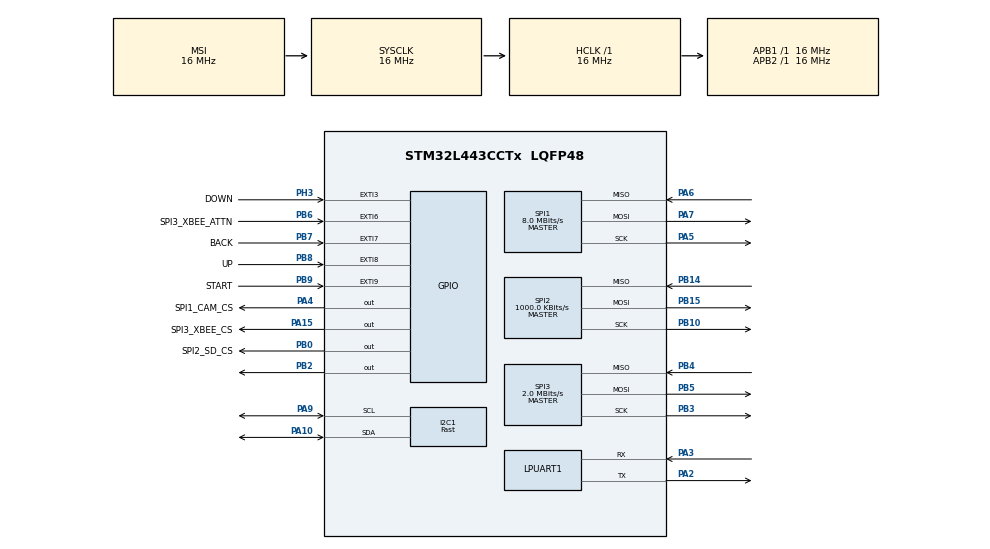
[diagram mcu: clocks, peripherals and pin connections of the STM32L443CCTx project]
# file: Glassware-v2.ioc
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FATFS._CODE_PAGE=437
FATFS._FS_EXFAT=0
FATFS._MAX_SS=4096
FATFS._USE_LFN=1
I2C1.I2C_Speed_Mode=I2C_Fast
I2C1.NoStretchMode=I2C_NOSTRETCH_DISABLE
I2C1.Timing=0x0010061A
Mcu.Family=STM32L4
Mcu.Name=STM32L443CCTx
Mcu.Package=LQFP48
NVIC.EXTI3_IRQn=true\:0\:0\:false\:false\:true\:true\:true\:true
NVIC.EXTI9_5_IRQn=true\:0\:0\:false\:false\:true\:true\:true\:true
NVIC.PriorityGroup=NVIC_PRIORITYGROUP_4
PA10.GPIO_Pu=GPIO_PULLUP
PA10.Mode=I2C
PA10.Signal=I2C1_SDA
PA13\ (JTMS-SWDIO).Mode=Serial_Wire
PA13\ (JTMS-SWDIO).Signal=SYS_JTMS-SWDIO
PA14\ (JTCK-SWCLK).Mode=Serial_Wire
PA14\ (JTCK-SWCLK).Signal=SYS_JTCK-SWCLK
PA15\ (JTDI).GPIO_Label=SPI3_XBEE_CS
PA15\ (JTDI).PinState=GPIO_PIN_SET
PA15\ (JTDI).Signal=GPIO_Output
PA2.Mode=Asynchronous
PA2.Signal=LPUART1_TX
PA3.Mode=Asynchronous
PA3.Signal=LPUART1_RX
PA4.GPIO_Label=SPI1_CAM_CS
PA4.PinState=GPIO_PIN_SET
PA4.Signal=GPIO_Output
PA5.GPIO_PuPd=GPIO_NOPULL
PA5.Mode=Full_Duplex_Master
PA5.Signal=SPI1_SCK
PA6.Mode=Full_Duplex_Master
PA6.Signal=SPI1_MISO
PA7.Mode=Full_Duplex_Master
PA7.Signal=SPI1_MOSI
PA9.GPIO_Pu=GPIO_PULLUP
PA9.Mode=I2C
PA9.Signal=I2C1_SCL
PB0.GPIO_Label=SPI2_SD_CS
PB0.GPIO_PuPd=GPIO_PULLUP
PB0.PinState=GPIO_PIN_SET
PB0.Signal=GPIO_Output
PB10.GPIO_PuPd=GPIO_PULLUP
PB10.Mode=Full_Duplex_Master
PB10.Signal=SPI2_SCK
PB14.GPIO_PuPd=GPIO_PULLUP
PB14.Mode=Full_Duplex_Master
PB14.Signal=SPI2_MISO
PB15.GPIO_PuPd=GPIO_PULLUP
PB15.Mode=Full_Duplex_Master
PB15.Signal=SPI2_MOSI
PB2.Signal=GPIO_Output
PB3\ (JTDO-TRACESWO).Mode=Full_Duplex_Master
PB3\ (JTDO-TRACESWO).Signal=SPI3_SCK
PB4\ (NJTRST).Mode=Full_Duplex_Master
PB4\ (NJTRST).Signal=SPI3_MISO
PB5.Mode=Full_Duplex_Master
PB5.Signal=SPI3_MOSI
PB6.GPIO_Label=SPI3_XBEE_ATTN
PB6.GPIO_ModeDefaultEXTI=GPIO_MODE_IT_FALLING
PB6.Signal=GPXTI6
PB7.GPIO_Label=BACK
PB7.GPIO_ModeDefaultEXTI=GPIO_MODE_IT_FALLING
PB7.Signal=GPXTI7
PB8.GPIO_Label=UP
PB8.GPIO_ModeDefaultEXTI=GPIO_MODE_IT_FALLING
PB8.Signal=GPXTI8
PB9.GPIO_Label=START
PB9.GPIO_ModeDefaultEXTI=GPIO_MODE_IT_FALLING
PB9.Signal=GPXTI9
PH0-OSC_IN\ (PH0).Mode=HSE-External-Oscillator
PH0-OSC_IN\ (PH0).Signal=RCC_OSC_IN
PH1-OSC_OUT\ (PH1).Mode=HSE-External-Oscillator
PH1-OSC_OUT\ (PH1).Signal=RCC_OSC_OUT
PH3-BOOT0.GPIO_Label=DOWN
PH3-BOOT0.GPIO_ModeDefaultEXTI=GPIO_MODE_IT_FALLING
PH3-BOOT0.Signal=GPXTI3
ProjectManager.HeapSize=0x200
ProjectManager.StackSize=0x400
ProjectManager.TargetToolchain=STM32CubeIDE
RCC.ADCFreq_Value=64000000
RCC.AHBFreq_Value=16000000
RCC.APB1Freq_Value=16000000
RCC.APB1TimFreq_Value=16000000
RCC.APB2Freq_Value=16000000
RCC.APB2TimFreq_Value=16000000
RCC.CortexFreq_Value=16000000
RCC.HCLKFreq_Value=16000000
RCC.HSE_VALUE=8000000
RCC.HSI48_VALUE=48000000
RCC.HSI_VALUE=16000000
RCC.LSE_VALUE=32768
RCC.MSIClockRange=RCC_MSIRANGE_8
RCC.MSI_VALUE=16000000
RCC.SYSCLKFreq_VALUE=16000000
RCC.USBFreq_Value=64000000
RCC.VCOOutputFreq_Value=128000000
SPI1.CalculateBaudRate=8.0 MBits/s
SPI1.Direction=SPI_DIRECTION_2LINES
SPI1.Mode=SPI_MODE_MASTER
SPI1.VirtualType=VM_MASTER
SPI2.BaudRatePrescaler=SPI_BAUDRATEPRESCALER_16
SPI2.CalculateBaudRate=1000.0 KBits/s
SPI2.DataSize=SPI_DATASIZE_8BIT
SPI2.Direction=SPI_DIRECTION_2LINES
SPI2.Mode=SPI_MODE_MASTER
SPI2.NSSPMode=SPI_NSS_PULSE_DISABLE
SPI2.VirtualType=VM_MASTER
SPI3.BaudRatePrescaler=SPI_BAUDRATEPRESCALER_8
SPI3.CalculateBaudRate=2.0 MBits/s
SPI3.DataSize=SPI_DATASIZE_8BIT
SPI3.Direction=SPI_DIRECTION_2LINES
SPI3.Mode=SPI_MODE_MASTER
SPI3.VirtualType=VM_MASTER
VP_FATFS_VS_Generic.Mode=User_defined
board=custom

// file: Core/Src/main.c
/* USER CODE BEGIN Header */
/**
 ******************************************************************************
 * @file           : main.c
 * @brief          : Main program body
 ******************************************************************************
 * @attention
 *
 * Copyright (c) 2023 STMicroelectronics.
 * All rights reserved.
 *
 * This software is licensed under terms that can be found in the LICENSE file
 * in the root directory of this software component.
 * If no LICENSE file comes with this software, it is provided AS-IS.
 *
 ******************************************************************************
 */
/* USER CODE END Header */
#include "main.h"
#include "fatfs.h"

/* USER CODE BEGIN Includes */
#include "path.h"
#include "fatfs_sd.h"
#include "fonts.h"
#include "ssd1306.h"
#include "stdbool.h"
#include "stdio.h"
#include "string.h"
#include "xbee.h"

/* USER CODE END Includes */

/* USER CODE BEGIN PD */
#define HSPI_SDCARD &hspi2
#define SD_CS_PORT GPIOB
#define SD_CS_PIN GPIO_PIN_0

/* USER CODE END PD */

I2C_HandleTypeDef hi2c1;

UART_HandleTypeDef hlpuart1;

SPI_HandleTypeDef hspi1;
SPI_HandleTypeDef hspi2;
SPI_HandleTypeDef hspi3;

extern int num_allocated;
extern int num_freed;

/* USER CODE BEGIN PV */
enum menuState {dir = 0, sel_dest = 1, running = 2};
enum selectedLocation {none = 0, eecs1311, wbathroom, mbathroom, vending, stairs};
enum menuState menu;
enum selectedLocation location = none;
double ** map;     // map storage
double ** destMap; // map storage
const int pressed = 0;
// display settings
char * curDisp;
char * nextDisp;
int curDir;
int nextDir;
int lastDisp = 0;
const char * START = "Press Start";
const char * ARRIVED = "Hit Mark!";
const char * CHOOSE = "Set Course";
const char * EECS1311 = "EECS 1311";
const char * WBATH = "Women's WC";
const char * MBATH = "Men's WC";
const char * VENDING = "Snack Mach";
const char * STAIRS = "Stairs";

// xbee vars
uint8_t xbee_rx_buf[64];
uint16_t rx_size = 0;

Graph * graph; // storage for shortest path algorithm
double curPosX;
double curPosY;
int status;
/* USER CODE END PV */

void SystemClock_Config(void);
static void MX_GPIO_Init(void);
static void MX_I2C1_Init(void);
static void MX_SPI1_Init(void);
static void MX_LPUART1_UART_Init(void);
static void MX_SPI3_Init(void);
static void MX_SPI2_Init(void);

/* USER CODE BEGIN 0 */
void sendResetTX()
{
	uint8_t buf[3] = { 'R', 'S', 'T' };
	XBeeTX(buf, 3, xbee_rx_buf, 0);
}

void sendResetDestTX(uint8_t dest)
{
	uint8_t buf[4] = { 'R', 'S', 'T', dest };
	XBeeTX(buf, 4, xbee_rx_buf, 1);
}

bool hasArrived()
{
	// check if current position is within 3 meters of the destination
	double dist = sqrt(pow(curPosX - destMap[0][0],  2) + pow(curPosY - destMap[0][1], 2));
	if (dist > -1.5 && dist < 1.5) return true;
	return false;
}

void initMenu()
{
	SSD1306_Clear();
	SSD1306_GotoXY(0,0);
	SSD1306_Puts ("Press Start", &Font_11x18, 1);
	SSD1306_UpdateScreen(); //display
}

void parseXbeeData(){

	int i = 0;
	while (xbee_rx_buf[i] != 0x7e) {
		i++;
	}

	int frame = xbee_rx_buf[i + 3];

	if (frame != 0x90){
		return;
	}

	int xInit = i + 15, yInit = i + 19, sInit = i + 23;
	//int xEnd = 3, yEnd = 7, sEnd = 11;
	int packetSize = 4;

	int x = 0;
	int y = 0;
	status = 0;

	for (int j = 0; j < packetSize; j++){
		x |= xbee_rx_buf[xInit + j] << ((3-j)*8);
		y |= xbee_rx_buf[yInit + j] << ((3-j)*8);
		status |= xbee_rx_buf[sInit + j] << ((3-j)*8);

	}

	curPosX = *((float*) &x);
	curPosY = *((float*) &y);

}

GPIO_PinState readButton(int idx)
{
	if (idx == 0){
		return HAL_GPIO_ReadPin(GPIOB, GPIO_PIN_9);
	} else if (idx == 1) {
		return HAL_GPIO_ReadPin(GPIOB, GPIO_PIN_8);
	} else if (idx == 2) {
		return HAL_GPIO_ReadPin(GPIOH, GPIO_PIN_3);
	} else if (idx == 3) {
		return HAL_GPIO_ReadPin(GPIOB, GPIO_PIN_7);
	}
}

void readButtons(int start, int up, int down, int back)
{
	if (menu == dir) {
		if ( (start == pressed) || (up == pressed) || (down == pressed) || (back = pressed)){
			menu = sel_dest;
			return;
		}
	} else if (menu == sel_dest) {
		if (back == pressed) {
			menu = dir;
			return;
		} else if (up == pressed && down == pressed) {
			return;
		} else if (up == pressed) {
			if (location != none) {
				location--;
				return;
			}
		} else if (down == pressed) {
			if (location != stairs ) {
				location++;
				return;
			}
		} else if (start == pressed) {
			if (location != none) {
				menu = running;
				sendResetTX();
				sendResetDestTX(location);
				return;
			}
		}
	} else if (menu == running) {
		if (back == pressed) {
			menu = dir;
			location = none;
			return;
		}
	}
}

void displayLocation()
{
	if (location == none){
		nextDisp = CHOOSE;
	} else if (location == eecs1311 ) {
		nextDisp = EECS1311;
	} else if (location == wbathroom ) {
		nextDisp = WBATH;
	} else if (location == mbathroom ) {
		nextDisp = MBATH;
	} else if (location == vending ) {
		nextDisp = VENDING;
	} else if (location == stairs ) {
		nextDisp = STAIRS;
	}
}

void WriteToDisplay(char * str)
{
	SSD1306_Clear();
	SSD1306_GotoXY(0,0);
	SSD1306_Puts (str, &Font_11x18, 1);
	SSD1306_UpdateScreen(); //display
}

void displayMenu()
{
	if (menu == dir) {
		//		SSD1306_Puts ("Press Start", &Font_11x18, 1);
		nextDisp = START;
	} else if (menu == sel_dest) {
		displayLocation();
	} else if (menu == running) {
		// getCurrentPosition();

		if (hasArrived()){
			location = none;
			menu = dir;
			// display congrats message
			WriteToDisplay(ARRIVED);
			nextDisp = ARRIVED;
			HAL_Delay(2000);
		} else {
			// compute based on algorithm
			displayNextStep();
			HAL_Delay(300);
		}
	}

	if (strcmp(curDisp, nextDisp) != 0) {
		lastDisp = 0;
		SSD1306_Clear();
		SSD1306_GotoXY(0,0);
		curDisp = nextDisp;
		SSD1306_Puts (curDisp, &Font_11x18, 1);
		SSD1306_UpdateScreen(); //display
	}
}

void displayNextStep()
{
	// convert from current position to closest node
	int startIdx = findClosestNode(graph, curPosX, curPosY);
	int destinationIdx = findNode(graph, destMap[location][0], destMap[location][1]);

	// find shortest path from current position to destination
	int * path = findShortestPath(graph, startIdx, destinationIdx);

	// find immediate route for user
	// compute arrow heading (based on user orientation)
	double theta = heading(graph, path);
	free(path);

	// TODO: convert from position to orientation
	// TODO: figure out if needed to turn back
	// then convert from theta to arrow direction

	if (0 <= theta && theta < M_PI / 2) nextDir = 0;
	else if (M_PI / 2 <= theta && theta < M_PI) nextDir = 1;
	else if (M_PI <= theta && theta < 3 * M_PI / 2) nextDir = 2;
	else if (3 * M_PI / 2 <= theta && theta <= 2 * M_PI) nextDir = 3;
	else nextDir = -1;

	if (nextDir != curDir || lastDisp == 0){
		displayArrow(nextDir);
		curDir = nextDir;
		lastDisp = 1;
	}
//	char* temp[80];
//	SSD1306_Clear();
//	SSD1306_GotoXY(0, 0);
//	sprintf(temp, "Allc: %i", num_allocated);
//	SSD1306_Puts(temp, &Font_7x10, 1);
//	SSD1306_GotoXY(0, 12);
//	sprintf(temp, "Free: %i", num_freed);
//	SSD1306_Puts(temp, &Font_7x10, 1);
//	SSD1306_UpdateScreen();
	return;
}

void displayArrowRight()
{
	// Turn Right
	SSD1306_Puts ("Right", &Font_11x18, 1);
	SSD1306_DrawFilledTriangle(120, 15, 100, 30, 100, 0, SSD1306_COLOR_WHITE);
	SSD1306_DrawFilledRectangle(80, 10, 20, 10, SSD1306_COLOR_WHITE);
}

void displayArrowLeft()
{
	// Turn Left
	SSD1306_Puts ("Left", &Font_11x18, 1);
	SSD1306_DrawFilledTriangle(80, 15, 100, 30, 100, 0, SSD1306_COLOR_WHITE);
	SSD1306_DrawFilledRectangle(100, 10, 20, 10, SSD1306_COLOR_WHITE);
}

void displayArrowUp()
{
	// Move forward
	SSD1306_Puts ("Move", &Font_11x18, 1);
	SSD1306_DrawFilledTriangle(80, 0, 100, 30, 60, 30, SSD1306_COLOR_WHITE);
}

void displayArrowDown()
{
	// Turn back
	SSD1306_Puts ("Back", &Font_11x18, 1);
	SSD1306_DrawFilledTriangle(80, 30, 100, 0, 60, 0, SSD1306_COLOR_WHITE);
}

void displayArrowError()
{
	// Turn back
	SSD1306_Puts ("Error with arrow heading!", &Font_11x18, 1);
}

void displayArrow(int direction)
{
	SSD1306_Clear();
	SSD1306_GotoXY (0,0);

	if (direction == 0) {
		displayArrowRight();
	} else if (direction == 1) {
		displayArrowLeft();
	} else if (direction == 2) {
		displayArrowUp();
	} else if (direction == 3) {
		displayArrowDown();
	} else {
		// error
		displayArrowError();
	}

	SSD1306_UpdateScreen(); //display
}
void Start_position(){
	curPosX = destMap[2][0];
	curPosY = destMap[2][1];
}

void Destination_init()
{
	int locNum = 5;
	destMap = malloc(locNum * sizeof(double *));
	for (int i = 0; i < locNum; i++){
		// allocate x/y coordinates
		destMap[i] = malloc( 2 * sizeof(double));
	}

	// none (test)
	destMap[0][0] = 16.96;
	destMap[0][1] = 78.64;

	// eecs 1311
	destMap[1][0] = 16.96;
	destMap[1][1] = 78.64;

	// womem's bathroom
	destMap[2][0] = 41.12;
	destMap[2][1] = 82.48;

	// men's bathroom
	destMap[3][0] = 48.48;
	destMap[3][1] = 82.80;

	// vending machine
	destMap[4][0] = 39.36;
	destMap[4][1] = 62.48;

	// stairs
	destMap[4][0] = 48.32;
	destMap[4][1] = 78.48;
}

int Map_init_SD(){
	// open map file from sd card

	// Initialize SD card
	// some variables for FatFs
	FATFS FatFs; 	//Fatfs handle
	FIL fil; 		//File handle
	char line[100]; // Line buffer
	FRESULT fres;   //Result after operations
	char* filename = "refineMap.txt";

	fres = f_mount(&FatFs, "0:", 1); // 1 = mount now

	fres = f_open(&fil, filename, FA_READ);
	if (fres) return (int)fres;

	int count = 0;
	while (f_gets(line, sizeof line, &fil)) {
		count++;
	}

	/* Close the file */
	f_close(&fil);

	map = malloc(count * sizeof(double *));
	for (int i = 0; i < count; i++){
		// allocate x/y coordinates
		map[i] = malloc( 4 * sizeof(double));
	}

	// Reopen file and read content
	fres = f_open(&fil, filename, FA_READ);
	if (fres) return (int)fres;

	/* Read every line and display it */
	char * token;
	const char* del = " ";

	int i = 0;
	while (f_gets(line, sizeof(line), &fil)) {
		int j = 0;
		// printf(line);
		token = strtok(line, del);
		double num = atof(token);
		map[i][j] = num;

		while(token != NULL){
			if (j >= 3){ // file is badly formatted
				break;
			}
			j++;
			token = strtok(NULL, del);
			num = atof(token);
			map[i][j] = num;
		}
		i++;
	}

	/* Close the file */
	f_close(&fil);

	buildGraphFromMap(graph, map, count);

	return 0;

}
/* USER CODE END 0 */

int main(void)
{

	/* MCU Configuration--------------------------------------------------------*/

	/* Reset of all peripherals, Initializes the Flash interface and the Systick. */
	HAL_Init();

	/* Configure the system clock */
	SystemClock_Config();

	/* Initialize all configured peripherals */
	MX_GPIO_Init();
	MX_I2C1_Init();
	MX_FATFS_Init();
	MX_SPI1_Init();
	MX_LPUART1_UART_Init();
	MX_SPI3_Init();
	MX_SPI2_Init();
	/* USER CODE BEGIN 2 */

	graph = createGraph();
	Map_init_SD();
	Destination_init();
	Start_position();

	// Initialize screen
	menu = dir;
	SSD1306_Init();
	curDisp = START;
	curDir = -1;

	initMenu();
	/* USER CODE END 2 */

	/* Infinite loop */
	while (1)
	{

		/* USER CODE BEGIN 3 */

		displayMenu();

	}
	/* USER CODE END 3 */
}

void SystemClock_Config(void)
{
	RCC_OscInitTypeDef RCC_OscInitStruct = {0};
	RCC_ClkInitTypeDef RCC_ClkInitStruct = {0};

	/** Configure the main internal regulator output voltage
	 */
	if (HAL_PWREx_ControlVoltageScaling(PWR_REGULATOR_VOLTAGE_SCALE1) != HAL_OK)
	{
		Error_Handler();
	}

	/** Initializes the RCC Oscillators according to the specified parameters
	 * in the RCC_OscInitTypeDef structure.
	 */
	RCC_OscInitStruct.OscillatorType = RCC_OSCILLATORTYPE_MSI;
	RCC_OscInitStruct.MSIState = RCC_MSI_ON;
	RCC_OscInitStruct.MSICalibrationValue = 0;
	RCC_OscInitStruct.MSIClockRange = RCC_MSIRANGE_8;
	RCC_OscInitStruct.PLL.PLLState = RCC_PLL_NONE;
	if (HAL_RCC_OscConfig(&RCC_OscInitStruct) != HAL_OK)
	{
		Error_Handler();
	}

	/** Initializes the CPU, AHB and APB buses clocks
	 */
	RCC_ClkInitStruct.ClockType = RCC_CLOCKTYPE_HCLK|RCC_CLOCKTYPE_SYSCLK
			|RCC_CLOCKTYPE_PCLK1|RCC_CLOCKTYPE_PCLK2;
	RCC_ClkInitStruct.SYSCLKSource = RCC_SYSCLKSOURCE_MSI;
	RCC_ClkInitStruct.AHBCLKDivider = RCC_SYSCLK_DIV1;
	RCC_ClkInitStruct.APB1CLKDivider = RCC_HCLK_DIV1;
	RCC_ClkInitStruct.APB2CLKDivider = RCC_HCLK_DIV1;

	if (HAL_RCC_ClockConfig(&RCC_ClkInitStruct, FLASH_LATENCY_0) != HAL_OK)
	{
		Error_Handler();
	}
}

static void MX_I2C1_Init(void)
{

	hi2c1.Instance = I2C1;
	hi2c1.Init.Timing = 0x0010061A;
	hi2c1.Init.OwnAddress1 = 0;
	hi2c1.Init.AddressingMode = I2C_ADDRESSINGMODE_7BIT;
	hi2c1.Init.DualAddressMode = I2C_DUALADDRESS_DISABLE;
	hi2c1.Init.OwnAddress2 = 0;
	hi2c1.Init.OwnAddress2Masks = I2C_OA2_NOMASK;
	hi2c1.Init.GeneralCallMode = I2C_GENERALCALL_DISABLE;
	hi2c1.Init.NoStretchMode = I2C_NOSTRETCH_DISABLE;
	if (HAL_I2C_Init(&hi2c1) != HAL_OK)
	{
		Error_Handler();
	}

	/** Configure Analogue filter
	 */
	if (HAL_I2CEx_ConfigAnalogFilter(&hi2c1, I2C_ANALOGFILTER_ENABLE) != HAL_OK)
	{
		Error_Handler();
	}

	/** Configure Digital filter
	 */
	if (HAL_I2CEx_ConfigDigitalFilter(&hi2c1, 0) != HAL_OK)
	{
		Error_Handler();
	}

}

static void MX_LPUART1_UART_Init(void)
{

	hlpuart1.Instance = LPUART1;
	hlpuart1.Init.BaudRate = 209700;
	hlpuart1.Init.WordLength = UART_WORDLENGTH_7B;
	hlpuart1.Init.StopBits = UART_STOPBITS_1;
	hlpuart1.Init.Parity = UART_PARITY_NONE;
	hlpuart1.Init.Mode = UART_MODE_TX_RX;
	hlpuart1.Init.HwFlowCtl = UART_HWCONTROL_NONE;
	hlpuart1.Init.OneBitSampling = UART_ONE_BIT_SAMPLE_DISABLE;
	hlpuart1.AdvancedInit.AdvFeatureInit = UART_ADVFEATURE_NO_INIT;
	if (HAL_UART_Init(&hlpuart1) != HAL_OK)
	{
		Error_Handler();
	}

}

static void MX_SPI1_Init(void)
{

	/* SPI1 parameter configuration*/
	hspi1.Instance = SPI1;
	hspi1.Init.Mode = SPI_MODE_MASTER;
	hspi1.Init.Direction = SPI_DIRECTION_2LINES;
	hspi1.Init.DataSize = SPI_DATASIZE_4BIT;
	hspi1.Init.CLKPolarity = SPI_POLARITY_LOW;
	hspi1.Init.CLKPhase = SPI_PHASE_1EDGE;
	hspi1.Init.NSS = SPI_NSS_SOFT;
	hspi1.Init.BaudRatePrescaler = SPI_BAUDRATEPRESCALER_2;
	hspi1.Init.FirstBit = SPI_FIRSTBIT_MSB;
	hspi1.Init.TIMode = SPI_TIMODE_DISABLE;
	hspi1.Init.CRCCalculation = SPI_CRCCALCULATION_DISABLE;
	hspi1.Init.CRCPolynomial = 7;
	hspi1.Init.CRCLength = SPI_CRC_LENGTH_DATASIZE;
	hspi1.Init.NSSPMode = SPI_NSS_PULSE_ENABLE;
	if (HAL_SPI_Init(&hspi1) != HAL_OK)
	{
		Error_Handler();
	}

}

static void MX_SPI2_Init(void)
{

	/* SPI2 parameter configuration*/
	hspi2.Instance = SPI2;
	hspi2.Init.Mode = SPI_MODE_MASTER;
	hspi2.Init.Direction = SPI_DIRECTION_2LINES;
	hspi2.Init.DataSize = SPI_DATASIZE_8BIT;
	hspi2.Init.CLKPolarity = SPI_POLARITY_LOW;
	hspi2.Init.CLKPhase = SPI_PHASE_1EDGE;
	hspi2.Init.NSS = SPI_NSS_SOFT;
	hspi2.Init.BaudRatePrescaler = SPI_BAUDRATEPRESCALER_16;
	hspi2.Init.FirstBit = SPI_FIRSTBIT_MSB;
	hspi2.Init.TIMode = SPI_TIMODE_DISABLE;
	hspi2.Init.CRCCalculation = SPI_CRCCALCULATION_DISABLE;
	hspi2.Init.CRCPolynomial = 7;
	hspi2.Init.CRCLength = SPI_CRC_LENGTH_DATASIZE;
	hspi2.Init.NSSPMode = SPI_NSS_PULSE_DISABLE;
	if (HAL_SPI_Init(&hspi2) != HAL_OK)
	{
		Error_Handler();
	}

}

static void MX_SPI3_Init(void)
{

	/* SPI3 parameter configuration*/
	hspi3.Instance = SPI3;
	hspi3.Init.Mode = SPI_MODE_MASTER;
	hspi3.Init.Direction = SPI_DIRECTION_2LINES;
	hspi3.Init.DataSize = SPI_DATASIZE_8BIT;
	hspi3.Init.CLKPolarity = SPI_POLARITY_LOW;
	hspi3.Init.CLKPhase = SPI_PHASE_1EDGE;
	hspi3.Init.NSS = SPI_NSS_SOFT;
	hspi3.Init.BaudRatePrescaler = SPI_BAUDRATEPRESCALER_8;
	hspi3.Init.FirstBit = SPI_FIRSTBIT_MSB;
	hspi3.Init.TIMode = SPI_TIMODE_DISABLE;
	hspi3.Init.CRCCalculation = SPI_CRCCALCULATION_DISABLE;
	hspi3.Init.CRCPolynomial = 7;
	hspi3.Init.CRCLength = SPI_CRC_LENGTH_DATASIZE;
	hspi3.Init.NSSPMode = SPI_NSS_PULSE_ENABLE;
	if (HAL_SPI_Init(&hspi3) != HAL_OK)
	{
		Error_Handler();
	}

}

static void MX_GPIO_Init(void)
{
	GPIO_InitTypeDef GPIO_InitStruct = {0};

	/* GPIO Ports Clock Enable */
	__HAL_RCC_GPIOH_CLK_ENABLE();
	__HAL_RCC_GPIOA_CLK_ENABLE();
	__HAL_RCC_GPIOB_CLK_ENABLE();

	/*Configure GPIO pin Output Level */
	HAL_GPIO_WritePin(GPIOA, SPI1_CAM_CS_Pin|SPI3_XBEE_CS_Pin, GPIO_PIN_SET);

	/*Configure GPIO pin Output Level */
	HAL_GPIO_WritePin(SPI2_SD_CS_GPIO_Port, SPI2_SD_CS_Pin, GPIO_PIN_SET);

	/*Configure GPIO pin Output Level */
	HAL_GPIO_WritePin(GPIOB, GPIO_PIN_2, GPIO_PIN_RESET);

	/*Configure GPIO pins : SPI1_CAM_CS_Pin SPI3_XBEE_CS_Pin */
	GPIO_InitStruct.Pin = SPI1_CAM_CS_Pin|SPI3_XBEE_CS_Pin;
	GPIO_InitStruct.Mode = GPIO_MODE_OUTPUT_PP;
	GPIO_InitStruct.Pull = GPIO_NOPULL;
	GPIO_InitStruct.Speed = GPIO_SPEED_FREQ_LOW;
	HAL_GPIO_Init(GPIOA, &GPIO_InitStruct);

	/*Configure GPIO pin : SPI2_SD_CS_Pin */
	GPIO_InitStruct.Pin = SPI2_SD_CS_Pin;
	GPIO_InitStruct.Mode = GPIO_MODE_OUTPUT_PP;
	GPIO_InitStruct.Pull = GPIO_PULLUP;
	GPIO_InitStruct.Speed = GPIO_SPEED_FREQ_LOW;
	HAL_GPIO_Init(SPI2_SD_CS_GPIO_Port, &GPIO_InitStruct);

	/*Configure GPIO pin : PB2 */
	GPIO_InitStruct.Pin = GPIO_PIN_2;
	GPIO_InitStruct.Mode = GPIO_MODE_OUTPUT_PP;
	GPIO_InitStruct.Pull = GPIO_NOPULL;
	GPIO_InitStruct.Speed = GPIO_SPEED_FREQ_LOW;
	HAL_GPIO_Init(GPIOB, &GPIO_InitStruct);

	/*Configure GPIO pins : SPI3_XBEE_ATTN_Pin BACK_Pin UP_Pin START_Pin */
	GPIO_InitStruct.Pin = SPI3_XBEE_ATTN_Pin|BACK_Pin|UP_Pin|START_Pin;
	GPIO_InitStruct.Mode = GPIO_MODE_IT_FALLING;
	GPIO_InitStruct.Pull = GPIO_NOPULL;
	HAL_GPIO_Init(GPIOB, &GPIO_InitStruct);

	/*Configure GPIO pin : DOWN_Pin */
	GPIO_InitStruct.Pin = DOWN_Pin;
	GPIO_InitStruct.Mode = GPIO_MODE_IT_FALLING;
	GPIO_InitStruct.Pull = GPIO_NOPULL;
	HAL_GPIO_Init(DOWN_GPIO_Port, &GPIO_InitStruct);

	/* EXTI interrupt init*/
	HAL_NVIC_SetPriority(EXTI3_IRQn, 0, 0);
	HAL_NVIC_EnableIRQ(EXTI3_IRQn);

	HAL_NVIC_SetPriority(EXTI9_5_IRQn, 0, 0);
	HAL_NVIC_EnableIRQ(EXTI9_5_IRQn);

}

/* USER CODE BEGIN 4 */
void HAL_GPIO_EXTI_Callback(uint16_t GPIO_Pin)
{
	if (GPIO_Pin == SPI3_XBEE_ATTN_Pin)
	{
		rx_size = 0;
		while (!HAL_GPIO_ReadPin(SPI3_XBEE_ATTN_GPIO_Port, SPI3_XBEE_ATTN_Pin))
		{
			HAL_GPIO_WritePin(GPIOA, GPIO_PIN_15, 0);
			HAL_SPI_Receive(&hspi3, &xbee_rx_buf[rx_size], 1, 2);
			HAL_GPIO_WritePin(GPIOA, GPIO_PIN_15, 1);
			rx_size = (rx_size + 1) % 64;
		}
		parseXbeeData();
	}
	else if (GPIO_Pin == START_Pin) {
		readButtons(0, 1, 1, 1);
	} else if (GPIO_Pin == UP_Pin) {
		readButtons(1, 0, 1, 1);
	} else if (GPIO_Pin == DOWN_Pin) {
		readButtons(1, 1, 0, 1);
	} else if (GPIO_Pin == BACK_Pin) {
		readButtons(1, 1, 1, 0);
	}
}
/* USER CODE END 4 */

void Error_Handler(void)
{
	__disable_irq();
	while (1)
	{
	}
}
